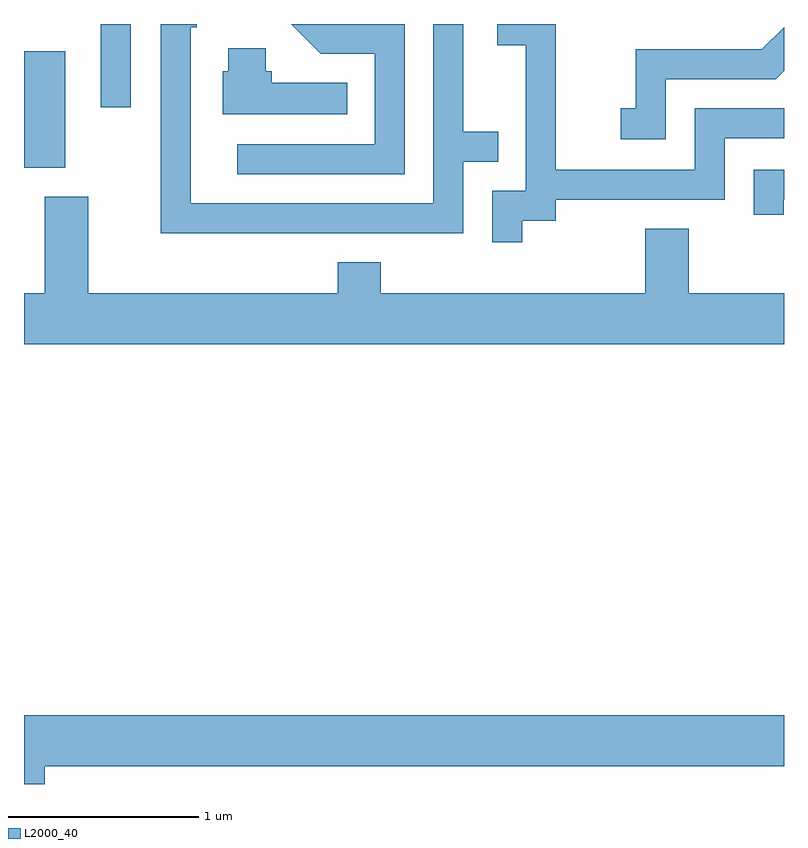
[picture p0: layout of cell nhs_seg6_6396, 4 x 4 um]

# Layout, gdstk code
import gdstk
lib = gdstk.Library(unit=1e-6, precision=1e-09)
def R(c, l, rs):  # rectangles x0, y0, x1, y1
    for r in rs: c.add(gdstk.rectangle(r[:2], r[2:], *l))
def P(c, l, *ps):  # polygons
    for p in ps: c.add(gdstk.Polygon(p, *l))
L2000_40 = (2000, 40)

nhs_seg6_6396 = lib.new_cell('nhs_seg6_6396')
R(nhs_seg6_6396, L2000_40, [(379.611,1555.406,379.829,1556.019), (380.016,1555.723,380.174,1556.162)])
P(nhs_seg6_6396, L2000_40, [(381.614,1556.162),(381.018,1556.162),(381.174,1556.006),(381.456,1556.006),(381.456,1555.529),(380.733,1555.529),(380.733,1555.371),(381.614,1555.371)],
  [(382.234,1555.126),(382.409,1555.126),(382.409,1555.236),(383.299,1555.236),(383.299,1555.561),(383.611,1555.561),(383.611,1555.719),(383.141,1555.719),(383.141,1555.394),(382.409,1555.394),(382.409,1556.162),(382.101,1556.162),(382.101,1556.051),(382.251,1556.051),(382.251,1555.284),(382.076,1555.284),(382.076,1555.013),(382.234,1555.013)],
  [(381.924,1555.436),(382.108,1555.436),(382.108,1555.594),(381.924,1555.594),(381.924,1556.162),(381.766,1556.162),(381.766,1555.219),(380.489,1555.219),(380.489,1556.146),(380.519,1556.146),(380.519,1556.162),(380.331,1556.162),(380.331,1555.061),(381.924,1555.061)],
  [(382.989,1555.871),(383.567,1555.871),(383.611,1555.915),(383.611,1556.146),(383.494,1556.029),(382.831,1556.029),(382.831,1555.719),(382.753,1555.719),(382.753,1555.556),(382.989,1555.556)],
  [(381.313,1555.854),(380.914,1555.854),(380.914,1555.914),(380.884,1555.914),(380.884,1556.034),(380.686,1556.034),(380.686,1555.914),(380.656,1555.914),(380.656,1555.686),(381.313,1555.686)],
  [(383.609,1555.236),(383.611,1555.236),(383.611,1555.394),(383.451,1555.394),(383.451,1555.158),(383.609,1555.158)],
  [(383.611,1554.744),(383.109,1554.744),(383.109,1555.084),(382.881,1555.084),(382.881,1554.744),(381.489,1554.744),(381.489,1554.909),(381.261,1554.909),(381.261,1554.744),(379.949,1554.744),(379.949,1555.254),(379.721,1555.254),(379.721,1554.744),(379.611,1554.744),(379.611,1554.476),(383.611,1554.476)],
  [(379.719,1552.256),(383.611,1552.256),(383.611,1552.524),(379.611,1552.524),(379.611,1552.162),(379.719,1552.162)])

lib.write_gds('nhs_seg6_6396.gds')
